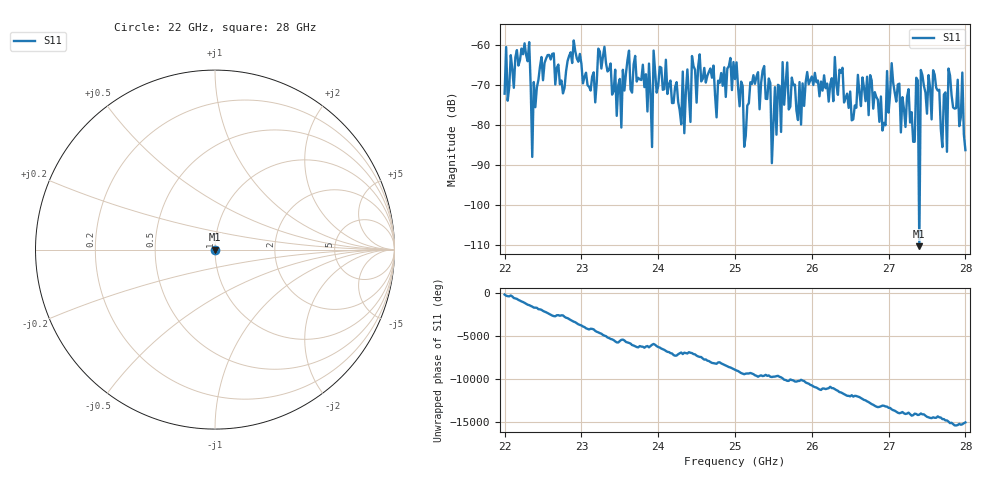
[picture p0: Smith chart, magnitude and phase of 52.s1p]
#  HZ  S  RI  R  50.00
! Rohde & Schwarz ZVA40 4Ports - Version 3.90 - 1145.1110k42 SN: 100403
! Date: 2023-10-04 07:53:12
! Measurement: S12
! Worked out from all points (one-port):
!   301 points, 22 GHz to 28 GHz, reference 50 ohm
!   lowest |S11| = -110.4 dB at 27.4 GHz (marker M1), VSWR 1.00, Z = 50 - j0.000302 ohm
!   |S11| at or under -10 dB: start of sweep to end of sweep
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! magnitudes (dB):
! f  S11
! 22 GHz  -72.3
! 22.02 GHz  -60.6
! 22.04 GHz  -74.0
! 22.32 GHz  -59.4
! 22.36 GHz  -88.1
! 22.48 GHz  -63.1
! 22.76 GHz  -72.2
! 22.9 GHz  -59.0
! 23.18 GHz  -74.5
! 23.22 GHz  -61.0
! 23.5 GHz  -68.6
! 23.52 GHz  -80.8
! 23.62 GHz  -61.5
! 23.86 GHz  -76.7
! 23.88 GHz  -64.8
! 23.92 GHz  -85.6
! 23.94 GHz  -61.5
! 24.26 GHz  -74.3
! 25 GHz  -68.6
! 25.12 GHz  -85.6
! 25.76 GHz  -70.2
! 26.5 GHz  -71.8
! 27.26 GHz  -71.2
! 27.4 GHz  -110.4
! 27.42 GHz  -66.4
! 27.76 GHz  -86.8
! 27.78 GHz  -66.0
! 28 GHz  -86.4
